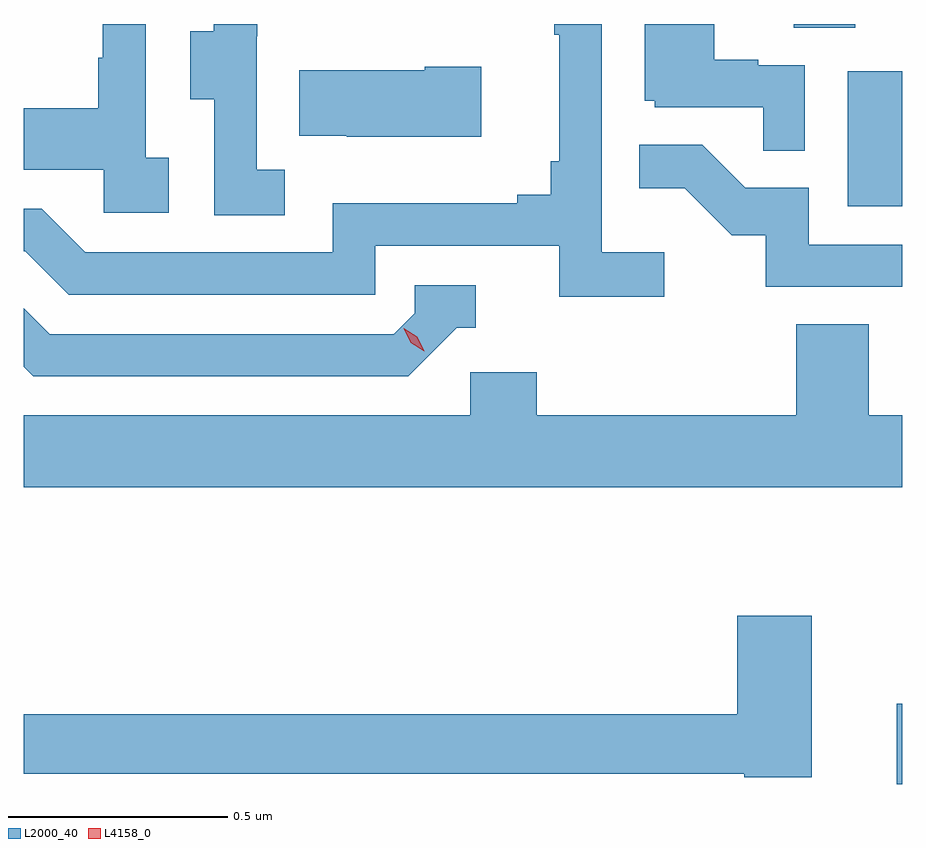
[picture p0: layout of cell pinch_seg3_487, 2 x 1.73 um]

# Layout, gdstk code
import gdstk
lib = gdstk.Library(unit=1e-6, precision=1e-09)
def R(c, l, rs):  # rectangles x0, y0, x1, y1
    for r in rs: c.add(gdstk.rectangle(r[:2], r[2:], *l))
def P(c, l, *ps):  # polygons
    for p in ps: c.add(gdstk.Polygon(p, *l))
L2000_40 = (2000, 40)
L4158_0 = (4158, 0)

pinch_seg3_487 = lib.new_cell('pinch_seg3_487')
R(pinch_seg3_487, L2000_40, [(1014.401,678.929,1014.414,679.112), (1014.29,680.244,1014.414,680.551), (1014.167,680.65,1014.307,680.659)])
P(pinch_seg3_487, L2000_40, [(1012.744,680.354),(1012.692,680.354),(1012.692,680.659),(1012.594,680.659),(1012.594,680.582),(1012.584,680.582),(1012.584,680.467),(1012.414,680.467),(1012.414,680.327),(1012.596,680.327),(1012.596,680.229),(1012.744,680.229)],
  [(1013.872,680.14),(1013.73,680.14),(1013.73,680.659),(1013.622,680.659),(1013.622,680.635),(1013.633,680.635),(1013.633,680.347),(1013.614,680.347),(1013.614,680.27),(1013.537,680.27),(1013.537,680.251),(1013.118,680.251),(1013.118,680.139),(1012.554,680.139),(1012.455,680.238),(1012.414,680.238),(1012.414,680.142),(1012.418,680.142),(1012.517,680.043),(1013.214,680.043),(1013.214,680.154),(1013.633,680.154),(1013.633,680.038),(1013.872,680.038)],
  [(1014.192,680.565),(1014.086,680.565),(1014.086,680.578),(1013.986,680.578),(1013.986,680.659),(1013.828,680.659),(1013.828,680.484),(1013.85,680.484),(1013.85,680.469),(1014.097,680.469),(1014.097,680.371),(1014.192,680.371)],
  [(1013.008,680.327),(1012.944,680.327),(1012.944,680.631),(1012.946,680.631),(1012.946,680.659),(1012.847,680.659),(1012.847,680.643),(1012.793,680.643),(1012.793,680.488),(1012.848,680.488),(1012.848,680.224),(1013.008,680.224)],
  [(1013.455,680.562),(1013.327,680.562),(1013.327,680.554),(1013.041,680.554),(1013.041,680.405),(1013.149,680.405),(1013.149,680.402),(1013.455,680.402)],
  [(1014.414,680.157),(1014.201,680.157),(1014.201,680.286),(1014.057,680.286),(1013.959,680.384),(1013.815,680.384),(1013.815,680.285),(1013.919,680.285),(1014.026,680.178),(1014.103,680.178),(1014.103,680.061),(1014.414,680.061)],
  [(1013.4,679.968),(1013.443,679.968),(1013.443,680.064),(1013.304,680.064),(1013.304,680.001),(1013.256,679.953),(1012.473,679.953),(1012.414,680.012),(1012.414,679.879),(1012.436,679.857),(1013.289,679.857)],
  [(1014.414,679.768),(1014.338,679.768),(1014.338,679.976),(1014.173,679.976),(1014.173,679.768),(1013.582,679.768),(1013.582,679.866),(1013.43,679.866),(1013.43,679.768),(1012.414,679.768),(1012.414,679.604),(1014.414,679.604)],
  [(1014.208,679.312),(1014.038,679.312),(1014.038,679.088),(1012.414,679.088),(1012.414,678.952),(1014.054,678.952),(1014.054,678.944),(1014.208,678.944)])
P(pinch_seg3_487, L4158_0, [(1013.326,679.914),(1013.295,679.933),(1013.279,679.966),(1013.279,679.966),(1013.279,679.966),(1013.31,679.947),(1013.326,679.914),(1013.326,679.914)])

lib.write_gds('pinch_seg3_487.gds')
